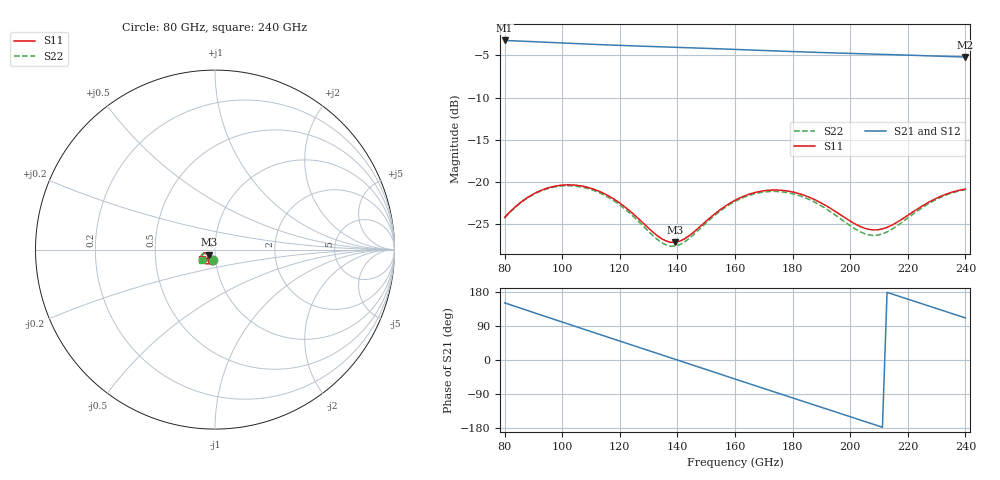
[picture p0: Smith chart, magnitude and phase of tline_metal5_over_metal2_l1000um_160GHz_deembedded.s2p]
! Created with skrf 2.2.0 (http://scikit-rf.org).
# GHz S DB R 50.0
! Port[1] = P1
! Port[2] = P2
!freq dBS11 angS11 dBS21 angS21 dBS12 angS12 dBS22 angS22
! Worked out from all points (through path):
!   101 points, 80 GHz to 240 GHz, reference 50 ohm
!   highest |S21| = -3.24 dB at 80 GHz (marker M1); lowest = -5.2 dB at 240 GHz (marker M2)
!   group delay of S21, straight-line fit = 6.94 ps
!   lowest |S11| = -27.1 dB at 139.2 GHz (marker M3), VSWR 1.09, Z = 46.7 - j2.62 ohm
!   |S11| at or under -10 dB: start of sweep to end of sweep
!   |S22| runs from -27.6 to -20.4 dB; largest |S21 - S12| = 1.1e-14
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80  -24.19 -103.2  -3.24 150.8  -3.24 150.8  -24.27 -102.4
88  -21.82 -110.8  -3.35 130.5  -3.35 130.5  -21.89 -110.4
94.4  -20.77 -120.6  -3.45 114.3  -3.45 114.3  -20.85 -120.5
100.8  -20.35 -131.4  -3.55 98.1  -3.55 98.1  -20.45 -131.5
107.2  -20.50 -142.0  -3.64 82.0  -3.64 82.0  -20.63 -142.4
113.6  -21.21 -151.6  -3.73 66.0  -3.73 66.0  -21.38 -152.2
121.6  -22.91 -160.0  -3.84 46.0  -3.84 46.0  -23.14 -160.8
128  -24.83 -160.9  -3.92 30.0  -3.92 30.0  -25.17 -161.7
134.4  -26.69 -152.5  -3.99 13.9  -3.99 13.9  -27.15 -152.5
139.2  -27.14 -140.4  -4.05 1.9  -4.05 1.9  -27.59 -139.4
148.8  -24.99 -123.8  -4.16 -22.1  -4.16 -22.1  -25.22 -122.3
160  -22.17 -127.5  -4.30 -50.2  -4.30 -50.2  -22.31 -126.8
166.4  -21.29 -134.5  -4.38 -66.2  -4.38 -66.2  -21.43 -134.1
172.8  -20.95 -142.4  -4.46 -82.1  -4.46 -82.1  -21.11 -142.4
179.2  -21.12 -150.2  -4.54 -98.0  -4.54 -98.0  -21.32 -150.5
187.2  -22.01 -158.2  -4.63 -117.9  -4.63 -117.9  -22.30 -158.7
201.6  -24.94 -157.5  -4.79 -153.6  -4.79 -153.6  -25.54 -157.4
208  -25.68 -147.6  -4.85 -169.5  -4.85 -169.5  -26.32 -145.8
214.4  -25.12 -136.9  -4.92 174.6  -4.92 174.6  -25.61 -133.8
225.6  -22.72 -131.9  -5.04 146.7  -5.04 146.7  -22.91 -128.9
233.6  -21.40 -136.9  -5.13 126.9  -5.13 126.9  -21.50 -134.5
240  -20.84 -143.1  -5.20 111.0  -5.20 111.0  -20.91 -141.1
